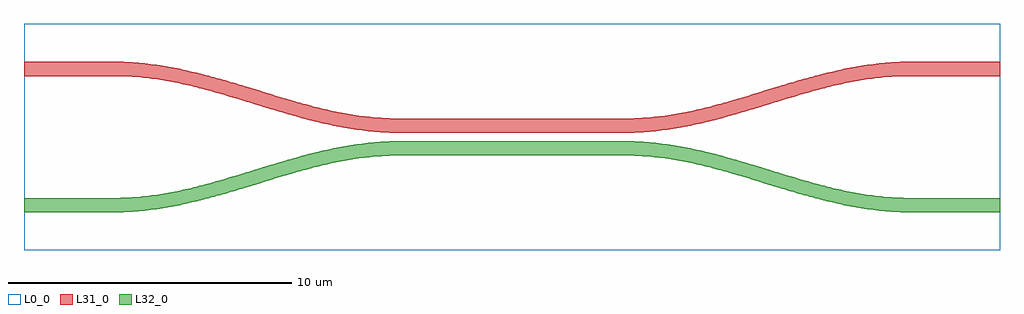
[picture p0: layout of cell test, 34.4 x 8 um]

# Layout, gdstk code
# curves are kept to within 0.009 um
import gdstk
lib = gdstk.Library(unit=1e-6, precision=1e-09)
def R(c, l, rs):  # rectangles x0, y0, x1, y1
    for r in rs: c.add(gdstk.rectangle(r[:2], r[2:], *l))
def P(c, l, *ps):  # polygons
    for p in ps: c.add(gdstk.Polygon(p, *l))
L0_0 = (0, 0)
L1_0 = (1, 0)
L2_0 = (2, 0)
L3_0 = (3, 0)
L4_0 = (4, 0)
L5_0 = (5, 0)
L31_0 = (31, 0)
L32_0 = (32, 0)

test = lib.new_cell('test')
R(test, L0_0, [(-17.2,-4,17.2,4)])
R(test, L31_0, [(-4,0.15,4,0.65)])
P(test, L31_0, [(-4,0.15),(-4.641,0.171),(-5.271,0.231),(-5.891,0.325),(-6.501,0.446),(-7.204,0.615),(-7.799,0.778),(-10.144,1.485),(-10.922,1.701),(-11.704,1.887),(-12.394,2.016),(-13.19,2.115),(-13.796,2.148),(-17.2,2.15),(-17.2,2.65),(-13.678,2.645),(-13.148,2.613),(-12.729,2.569),(-11.905,2.438),(-11.197,2.285),(-10.498,2.105),(-7.662,1.259),(-6.492,0.956),(-5.804,0.817),(-5.309,0.74),(-4.608,0.67),(-4,0.65)],
  [(4,0.15),(4,0.65),(4.608,0.67),(5.309,0.74),(5.804,0.817),(6.492,0.956),(7.662,1.259),(10.498,2.105),(11.197,2.285),(11.905,2.438),(12.729,2.569),(13.148,2.613),(13.678,2.645),(17.2,2.65),(17.2,2.15),(13.796,2.148),(13.19,2.115),(12.592,2.046),(11.704,1.887),(10.922,1.701),(10.144,1.485),(7.799,0.778),(7.204,0.615),(6.501,0.446),(5.891,0.325),(5.271,0.231),(4.641,0.171)])
R(test, L32_0, [(-4,-0.65,4,-0.15)])
P(test, L32_0, [(-17.2,-2.65),(-17.2,-2.15),(-13.796,-2.148),(-13.19,-2.115),(-12.592,-2.046),(-11.704,-1.887),(-10.922,-1.701),(-10.144,-1.485),(-7.799,-0.778),(-7.204,-0.615),(-6.501,-0.446),(-5.891,-0.325),(-5.271,-0.231),(-4.641,-0.171),(-4,-0.15),(-4,-0.65),(-4.608,-0.67),(-5.309,-0.74),(-5.804,-0.817),(-6.492,-0.956),(-7.662,-1.259),(-10.498,-2.105),(-11.197,-2.285),(-11.905,-2.438),(-12.729,-2.569),(-13.148,-2.613),(-13.678,-2.645)],
  [(14,-2.65),(13.465,-2.635),(12.938,-2.593),(12.418,-2.526),(11.803,-2.418),(11.197,-2.285),(10.498,-2.105),(7.662,-1.259),(6.492,-0.956),(5.804,-0.817),(5.309,-0.74),(4.608,-0.67),(4,-0.65),(4,-0.15),(4.641,-0.171),(5.271,-0.231),(5.891,-0.325),(6.501,-0.446),(7.204,-0.615),(7.799,-0.778),(10.144,-1.485),(10.922,-1.701),(11.704,-1.887),(12.394,-2.016),(13.19,-2.115),(13.796,-2.148),(17.2,-2.15),(17.2,-2.65)])
test.add(gdstk.FlexPath([(-14.5,3.4),(-14.5,1.4)], 0, ends="flush", simple_path=True, layer=1, datatype=0))  # L1_0
test.add(gdstk.FlexPath([(14.5,1.4),(14.5,3.4)], 0, ends="flush", simple_path=True, layer=3, datatype=0))  # L3_0
test.add(gdstk.FlexPath([(14.5,-1.4),(14.5,-3.4)], 0, ends="flush", simple_path=True, layer=4, datatype=0))  # L4_0
test.add(gdstk.FlexPath([(-14.5,-1.4),(-14.5,-3.4)], 0, ends="flush", simple_path=True, layer=2, datatype=0))  # L2_0
test.add(gdstk.FlexPath([(-14.7,3.4),(-14.7,1.4)], 0, ends="flush", simple_path=True, layer=5, datatype=0))  # L5_0

lib.write_gds('test.gds')
